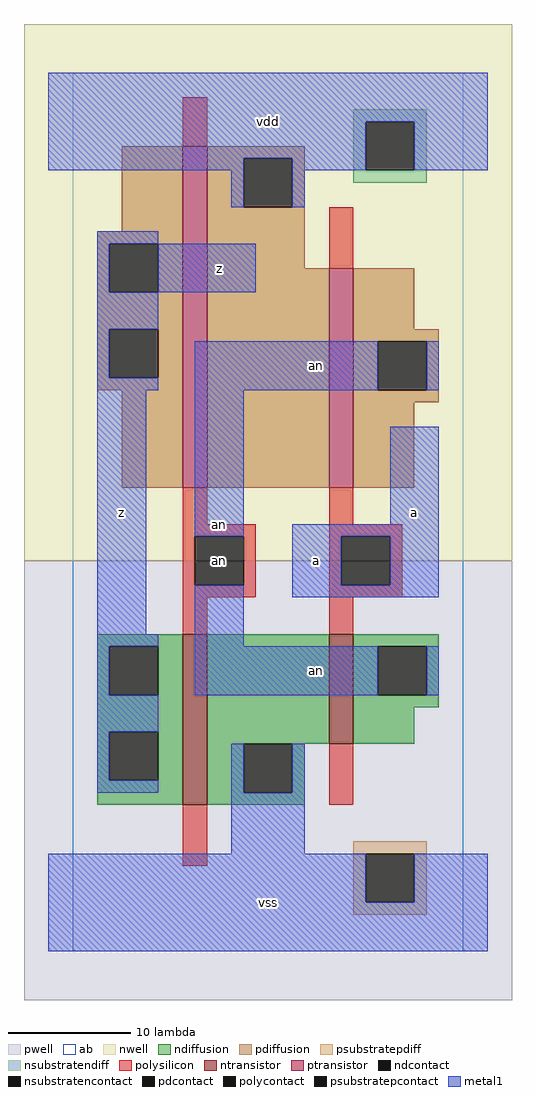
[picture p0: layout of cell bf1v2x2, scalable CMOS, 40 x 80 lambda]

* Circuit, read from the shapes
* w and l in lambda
.subckt bf1v2x2 a an vdd vss z
M1 vss an z vss nfet w=14 l=2
M2 an a vss vss nfet w=9 l=2
M3 vdd an z vdd pfet w=28 l=2
M4 an a vdd vdd pfet w=18 l=2
.ends

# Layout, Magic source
magic
tech scmos
<< ab >>
rect 0 0 32 72
<< pwell >>
rect -4 -4 36 32
<< nwell >>
rect -4 32 36 76
<< polysilicon >>
rect 9 66 11 70
rect 21 56 23 61
rect 9 35 11 38
rect 21 35 23 38
rect 9 34 15 35
rect 9 30 10 34
rect 14 30 15 34
rect 9 29 15 30
rect 21 34 27 35
rect 21 30 22 34
rect 26 30 27 34
rect 21 29 27 30
rect 9 26 11 29
rect 21 26 23 29
rect 21 12 23 17
rect 9 7 11 12
<< ndiffusion >>
rect 2 25 9 26
rect 2 21 3 25
rect 7 21 9 25
rect 2 18 9 21
rect 2 14 3 18
rect 7 14 9 18
rect 2 12 9 14
rect 11 17 21 26
rect 23 25 30 26
rect 23 21 25 25
rect 29 21 30 25
rect 23 20 30 21
rect 23 17 28 20
rect 11 13 14 17
rect 18 13 19 17
rect 11 12 19 13
<< pdiffusion >>
rect 4 59 9 66
rect 2 58 9 59
rect 2 54 3 58
rect 7 54 9 58
rect 2 51 9 54
rect 2 47 3 51
rect 7 47 9 51
rect 2 46 9 47
rect 4 38 9 46
rect 11 65 19 66
rect 11 61 14 65
rect 18 61 19 65
rect 11 56 19 61
rect 11 38 21 56
rect 23 51 28 56
rect 23 50 30 51
rect 23 46 25 50
rect 29 46 30 50
rect 23 45 30 46
rect 23 38 28 45
<< metal1 >>
rect -2 68 34 72
rect -2 65 24 68
rect -2 64 14 65
rect 13 61 14 64
rect 18 64 24 65
rect 28 64 34 68
rect 18 61 19 64
rect 2 58 7 59
rect 2 54 3 58
rect 7 54 15 58
rect 2 51 7 54
rect 2 47 3 51
rect 2 46 7 47
rect 10 46 25 50
rect 29 46 30 50
rect 2 26 6 46
rect 10 34 14 46
rect 26 35 30 43
rect 2 25 7 26
rect 2 21 3 25
rect 10 25 14 30
rect 18 34 30 35
rect 18 30 22 34
rect 26 30 30 34
rect 18 29 30 30
rect 10 21 25 25
rect 29 21 30 25
rect 2 18 7 21
rect 2 14 3 18
rect 2 13 7 14
rect 13 13 14 17
rect 18 13 19 17
rect 13 8 19 13
rect -2 4 24 8
rect 28 4 34 8
rect -2 0 34 4
<< ntransistor >>
rect 9 12 11 26
rect 21 17 23 26
<< ptransistor >>
rect 9 38 11 66
rect 21 38 23 56
<< polycontact >>
rect 10 30 14 34
rect 22 30 26 34
<< ndcontact >>
rect 3 21 7 25
rect 3 14 7 18
rect 25 21 29 25
rect 14 13 18 17
<< pdcontact >>
rect 3 54 7 58
rect 3 47 7 51
rect 14 61 18 65
rect 25 46 29 50
<< psubstratepcontact >>
rect 24 4 28 8
<< nsubstratencontact >>
rect 24 64 28 68
<< psubstratepdiff >>
rect 23 8 29 9
rect 23 4 24 8
rect 28 4 29 8
rect 23 3 29 4
<< nsubstratendiff >>
rect 23 68 29 69
rect 23 64 24 68
rect 28 64 29 68
rect 23 63 29 64
<< labels >>
rlabel polycontact 12 32 12 32 6 an
rlabel metal1 4 36 4 36 6 z
rlabel metal1 12 35 12 35 6 an
rlabel metal1 12 56 12 56 6 z
rlabel metal1 16 4 16 4 6 vss
rlabel metal1 20 32 20 32 6 a
rlabel metal1 16 68 16 68 6 vdd
rlabel metal1 20 23 20 23 6 an
rlabel metal1 28 36 28 36 6 a
rlabel metal1 20 48 20 48 6 an
<< end >>
